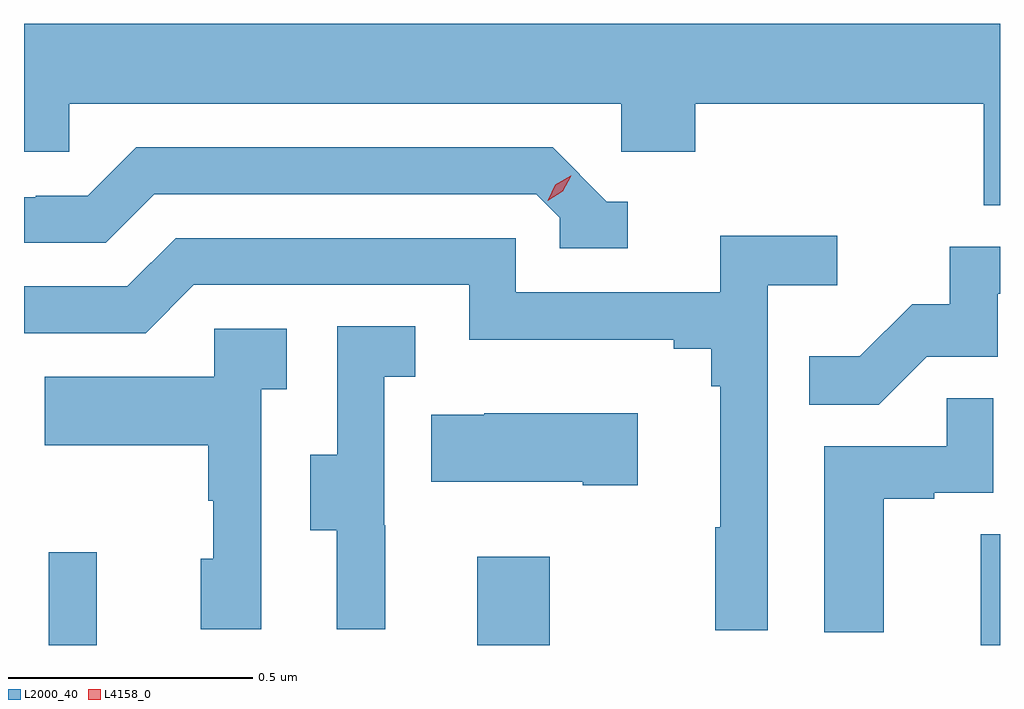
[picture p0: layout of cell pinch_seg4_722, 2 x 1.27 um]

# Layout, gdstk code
import gdstk
lib = gdstk.Library(unit=1e-6, precision=1e-09)
def R(c, l, rs):  # rectangles x0, y0, x1, y1
    for r in rs: c.add(gdstk.rectangle(r[:2], r[2:], *l))
def P(c, l, *ps):  # polygons
    for p in ps: c.add(gdstk.Polygon(p, *l))
L2000_40 = (2000, 40)
L4158_0 = (4158, 0)

pinch_seg4_722 = lib.new_cell('pinch_seg4_722')
R(pinch_seg4_722, L2000_40, [(852.861,830.343,852.959,830.533), (853.739,830.343,853.887,830.524), (854.771,830.343,854.81,830.57)])
P(pinch_seg4_722, L2000_40, [(854.81,831.616),(852.81,831.616),(852.81,831.354),(852.903,831.354),(852.903,831.452),(854.034,831.452),(854.034,831.354),(854.186,831.354),(854.186,831.452),(854.777,831.452),(854.777,831.244),(854.81,831.244)],
  [(854.047,831.252),(854.004,831.252),(853.893,831.363),(853.04,831.363),(852.941,831.264),(852.834,831.264),(852.834,831.261),(852.81,831.261),(852.81,831.168),(852.978,831.168),(853.077,831.267),(853.86,831.267),(853.908,831.219),(853.908,831.156),(854.047,831.156)],
  [(854.334,831.08),(854.476,831.08),(854.476,831.182),(854.237,831.182),(854.237,831.066),(853.818,831.066),(853.818,831.177),(853.121,831.177),(853.022,831.078),(852.81,831.078),(852.81,830.982),(853.059,830.982),(853.158,831.081),(853.722,831.081),(853.722,830.969),(854.141,830.969),(854.141,830.95),(854.218,830.95),(854.218,830.873),(854.237,830.873),(854.237,830.585),(854.226,830.585),(854.226,830.373),(854.334,830.373)],
  [(854.66,830.934),(854.805,830.934),(854.805,831.063),(854.81,831.063),(854.81,831.159),(854.707,831.159),(854.707,831.042),(854.63,831.042),(854.523,830.935),(854.419,830.935),(854.419,830.836),(854.562,830.836)],
  [(853.55,830.589),(853.548,830.589),(853.548,830.893),(853.612,830.893),(853.612,830.996),(853.452,830.996),(853.452,830.733),(853.397,830.733),(853.397,830.578),(853.451,830.578),(853.451,830.376),(853.55,830.376)],
  [(853.296,830.867),(853.348,830.867),(853.348,830.991),(853.2,830.991),(853.2,830.893),(852.853,830.893),(852.853,830.753),(853.188,830.753),(853.188,830.639),(853.198,830.639),(853.198,830.52),(853.172,830.52),(853.172,830.376),(853.296,830.376)],
  [(854.572,830.643),(854.675,830.643),(854.675,830.655),(854.796,830.655),(854.796,830.849),(854.701,830.849),(854.701,830.751),(854.45,830.751),(854.45,830.369),(854.572,830.369)],
  [(854.068,830.818),(853.753,830.818),(853.753,830.815),(853.645,830.815),(853.645,830.678),(853.955,830.678),(853.955,830.671),(854.068,830.671)])
P(pinch_seg4_722, L4158_0, [(853.883,831.254),(853.883,831.254),(853.899,831.286),(853.93,831.305),(853.931,831.305),(853.931,831.305),(853.914,831.273),(853.883,831.254)])

lib.write_gds('pinch_seg4_722.gds')
